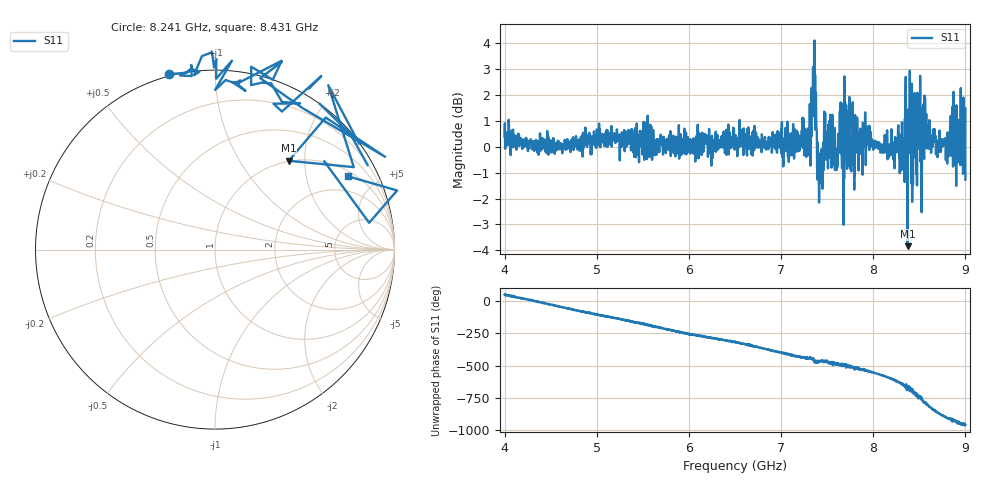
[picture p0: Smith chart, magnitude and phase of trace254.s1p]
! Created with skrf 1.8.0 (http://scikit-rf.org).
# Hz S RI R 50.0
!freq ReS11 ImS11
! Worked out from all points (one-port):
!   1601 points, 4 GHz to 9 GHz, reference 50 ohm
!   lowest |S11| = -3.8 dB at 8.372 GHz (marker M1), VSWR 4.60, Z = 49.5 + j83.5 ohm
!   |S11| at or under -10 dB: nowhere
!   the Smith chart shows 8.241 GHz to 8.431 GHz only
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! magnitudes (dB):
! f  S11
! 4 GHz  0.4
! 4.625 GHz  -0.2
! 5.25 GHz  -0.5
! 5.875 GHz  0.1
! 6.5 GHz  0.4
! 7.125 GHz  0.2
! 7.294 GHz  0.7
! 7.356 GHz  3.1
! 7.369 GHz  2.8
! 7.4 GHz  -0.2
! 7.428 GHz  -0.3
! 7.509 GHz  -0.8
! 7.544 GHz  -0.2
! 7.588 GHz  -0.7
! 7.65 GHz  1.2
! 7.75 GHz  -0.8
! 8.259 GHz  0.1
! 8.316 GHz  0.0
! 8.331 GHz  -0.9
! 8.35 GHz  2.0
! 8.372 GHz  -3.8
! 8.375 GHz  -0.9
! 8.562 GHz  1.9
! 8.603 GHz  0.7
! 8.806 GHz  0.6
! 8.953 GHz  -0.7
! 8.972 GHz  0.2
! 9 GHz  -1.3
